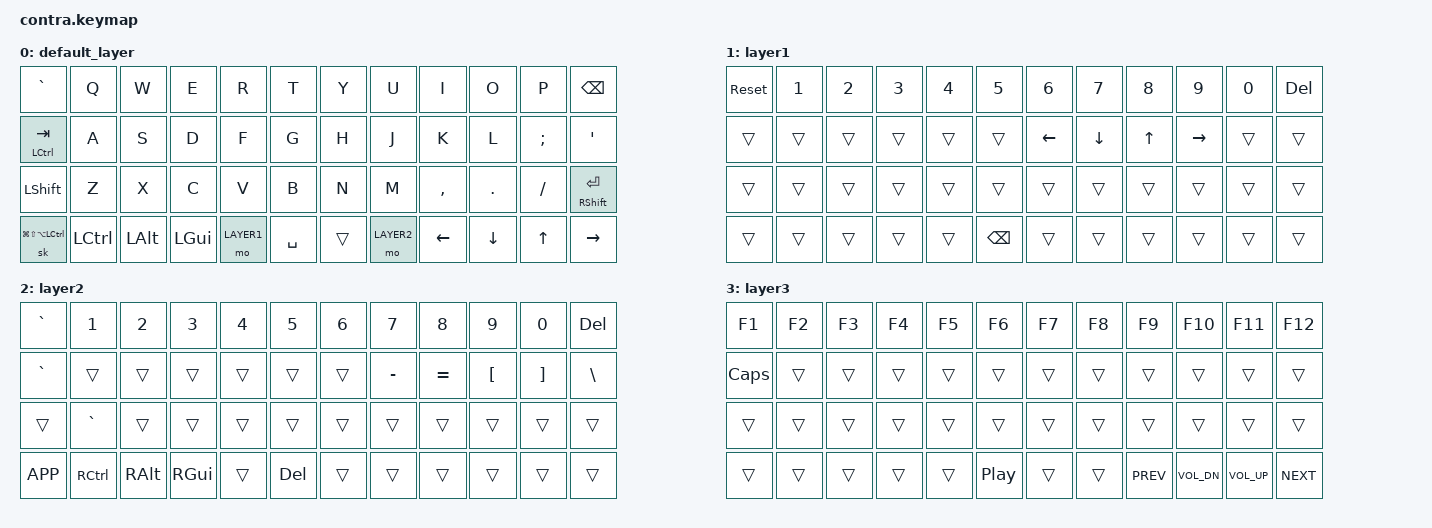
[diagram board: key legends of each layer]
/*
 * Copyright (c) 2021 The ZMK Contributors
 *
 * SPDX-License-Identifier: MIT
 */

#include <behaviors.dtsi>
#include <dt-bindings/zmk/keys.h>
#include <dt-bindings/zmk/bt.h>

#define DEFAULT  0
#define LAYER1   1
#define LAYER2   2
#define LAYER3   3

/ {
    keymap {
        compatible = "zmk,keymap";

        default_layer {
            bindings = <
    &kp GRAVE &kp Q     &kp W    &kp E     &kp R       &kp T      &kp Y     &kp U        &kp I     &kp O     &kp P    &kp BSPC
    &mt LCTRL TAB &kp A &kp S    &kp D     &kp F       &kp G      &kp H     &kp J        &kp K     &kp L     &kp SEMI &kp SQT
    &kp LSHFT &kp Z     &kp X    &kp C     &kp V       &kp B      &kp N     &kp M        &kp COMMA &kp DOT   &kp FSLH &mt RSHFT ENTER
    &sk LG(LS(LA(LCTRL))) &kp LCTRL &kp LALT &kp LGUI &mo LAYER1 &kp SPACE &trans &mo LAYER2 &kp LEFT &kp DOWN &kp UP &kp RIGHT
            >;
        };

        layer1 {
            bindings = <
    &sys_reset &kp N1   &kp N2   &kp N3   &kp N4      &kp N5     &kp N6    &kp N7      &kp N8    &kp N9    &kp N0   &kp DEL
    &trans     &trans   &trans   &trans   &trans      &trans     &kp LEFT  &kp DOWN    &kp UP    &kp RIGHT &trans   &trans
    &trans     &trans   &trans   &trans   &trans      &trans     &trans    &trans      &trans    &trans    &trans   &trans
    &trans     &trans   &trans   &trans   &trans      &kp BSPC   &trans    &trans      &trans    &trans    &trans   &trans
            >;
        };

        layer2 {
            bindings = <
    &kp GRAVE  &kp N1   &kp N2   &kp N3   &kp N4      &kp N5     &kp N6    &kp N7      &kp N8    &kp N9    &kp N0   &kp DEL
    &kp GRAVE  &trans   &trans   &trans   &trans      &trans     &trans    &kp MINUS   &kp EQUAL &kp LBKT  &kp RBKT &kp BSLH
    &trans     &kp GRAVE &trans  &trans   &trans      &trans     &trans    &trans      &trans    &trans    &trans   &trans
    &kp K_APP  &kp RCTRL &kp RALT &kp RGUI &trans     &kp DEL    &trans    &trans      &trans    &trans    &trans   &trans
            >;
        };

        layer3 {
            bindings = <
    &kp F1     &kp F2   &kp F3   &kp F4   &kp F5      &kp F6     &kp F7    &kp F8      &kp F9    &kp F10   &kp F11  &kp F12
    &kp CAPS   &trans   &trans   &trans   &trans      &trans     &trans    &trans      &trans    &trans    &trans   &trans
    &trans     &trans   &trans   &trans   &trans      &trans     &trans    &trans      &trans    &trans    &trans   &trans
    &trans     &trans   &trans   &trans   &trans      &kp C_PP   &trans    &trans      &kp C_PREV &kp C_VOL_DN &kp C_VOL_UP &kp C_NEXT
            >;
        };
    };
};
